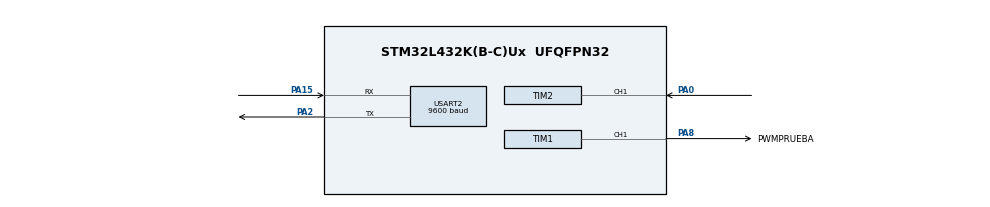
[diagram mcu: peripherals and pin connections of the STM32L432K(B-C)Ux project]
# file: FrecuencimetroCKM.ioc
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Mcu.Family=STM32L4
Mcu.Name=STM32L432K(B-C)Ux
Mcu.Package=UFQFPN32
NVIC.PriorityGroup=NVIC_PRIORITYGROUP_4
PA0.Signal=S_TIM2_CH1
PA15\ (JTDI).Mode=Asynchronous
PA15\ (JTDI).Signal=USART2_RX
PA2.Mode=Asynchronous
PA2.Signal=USART2_TX
PA8.GPIO_Label=PWMPRUEBA
PA8.Signal=S_TIM1_CH1
ProjectManager.HeapSize=0x200
ProjectManager.StackSize=0x400
ProjectManager.TargetToolchain=STM32CubeIDE
RCC.HSE_VALUE=8000000
RCC.HSI48_VALUE=48000000
RCC.HSI_VALUE=16000000
RCC.LSE_VALUE=32768
RCC.MSI_VALUE=4000000
RCC.VCOOutputFreq_Value=32000000
SH.S_TIM1_CH1.0=TIM1_CH1,PWM Generation1 CH1
SH.S_TIM2_CH1.0=TIM2_CH1,Input_Capture1_from_TI1
TIM1.Channel-PWM\ Generation1\ CH1=TIM_CHANNEL_1
TIM2.Channel-Input_Capture1_from_TI1=TIM_CHANNEL_1
USART2.BaudRate=9600
USART2.VirtualMode-Asynchronous=VM_ASYNC
VP_TIM6_VS_ClockSourceINT.Mode=Enable_Timer
board=custom

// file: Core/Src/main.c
/* USER CODE BEGIN Header */
/**
  ******************************************************************************
  * @file           : main.c
  * @brief          : Main program body
  ******************************************************************************
  * @attention
  *
  * Copyright (c) 2025 STMicroelectronics.
  * All rights reserved.
  *
  * This software is licensed under terms that can be found in the LICENSE file
  * in the root directory of this software component.
  * If no LICENSE file comes with this software, it is provided AS-IS.
  *
  ******************************************************************************
  */
/* USER CODE END Header */
#include "main.h"

/* USER CODE BEGIN Includes */
#include <stdio.h>
#include <math.h>
#include <string.h>
/* USER CODE END Includes */

TIM_HandleTypeDef htim1;
TIM_HandleTypeDef htim2;
TIM_HandleTypeDef htim6;

UART_HandleTypeDef huart2;

void SystemClock_Config(void);
static void MX_GPIO_Init(void);
static void MX_TIM2_Init(void);
static void MX_USART2_UART_Init(void);
static void MX_TIM6_Init(void);
static void MX_TIM1_Init(void);

/* USER CODE BEGIN 0 */
volatile uint32_t ultimacaptura = 0;
volatile uint32_t comienzoascendente = 0;
volatile uint32_t periodo = 0;
volatile uint32_t tflancoascendente = 0;
volatile uint8_t  estadocaptura = 0;
volatile uint8_t enviarmsj = 0;
volatile uint32_t frequencia = 0;
volatile uint32_t duty_cycle = 0;
/* USER CODE END 0 */

int main(void)
{

  /* MCU Configuration--------------------------------------------------------*/

  /* Reset of all peripherals, Initializes the Flash interface and the Systick. */
  HAL_Init();

  /* Configure the system clock */
  SystemClock_Config();

  /* Initialize all configured peripherals */
  MX_GPIO_Init();
  MX_TIM2_Init();
  MX_USART2_UART_Init();
  MX_TIM6_Init();
  MX_TIM1_Init();

  /* Infinite loop */
  while (1)
  {

    /* USER CODE BEGIN 3 */
	  if (enviarmsj){
		  enviarmsj=0;
		  char msg[64];
		  		    sprintf(msg, "Freq: %lu Hz  Duty: %lu%%\r\n", frequencia, duty_cycle);
		  		    HAL_UART_Transmit(&huart2, (uint8_t*)msg, strlen(msg), HAL_MAX_DELAY);
	  }
  }
  /* USER CODE END 3 */
}

void SystemClock_Config(void)
{
  RCC_OscInitTypeDef RCC_OscInitStruct = {0};
  RCC_ClkInitTypeDef RCC_ClkInitStruct = {0};

  /** Configure the main internal regulator output voltage
  */
  if (HAL_PWREx_ControlVoltageScaling(PWR_REGULATOR_VOLTAGE_SCALE1) != HAL_OK)
  {
    Error_Handler();
  }

  /** Initializes the RCC Oscillators according to the specified parameters
  * in the RCC_OscInitTypeDef structure.
  */
  RCC_OscInitStruct.OscillatorType = RCC_OSCILLATORTYPE_MSI;
  RCC_OscInitStruct.MSIState = RCC_MSI_ON;
  RCC_OscInitStruct.MSICalibrationValue = 0;
  RCC_OscInitStruct.MSIClockRange = RCC_MSIRANGE_6;
  RCC_OscInitStruct.PLL.PLLState = RCC_PLL_NONE;
  if (HAL_RCC_OscConfig(&RCC_OscInitStruct) != HAL_OK)
  {
    Error_Handler();
  }

  /** Initializes the CPU, AHB and APB buses clocks
  */
  RCC_ClkInitStruct.ClockType = RCC_CLOCKTYPE_HCLK|RCC_CLOCKTYPE_SYSCLK
                              |RCC_CLOCKTYPE_PCLK1|RCC_CLOCKTYPE_PCLK2;
  RCC_ClkInitStruct.SYSCLKSource = RCC_SYSCLKSOURCE_MSI;
  RCC_ClkInitStruct.AHBCLKDivider = RCC_SYSCLK_DIV1;
  RCC_ClkInitStruct.APB1CLKDivider = RCC_HCLK_DIV1;
  RCC_ClkInitStruct.APB2CLKDivider = RCC_HCLK_DIV1;

  if (HAL_RCC_ClockConfig(&RCC_ClkInitStruct, FLASH_LATENCY_0) != HAL_OK)
  {
    Error_Handler();
  }
}

static void MX_TIM1_Init(void)
{

  TIM_MasterConfigTypeDef sMasterConfig = {0};
  TIM_OC_InitTypeDef sConfigOC = {0};
  TIM_BreakDeadTimeConfigTypeDef sBreakDeadTimeConfig = {0};

  htim1.Instance = TIM1;
  htim1.Init.Prescaler = 0;
  htim1.Init.CounterMode = TIM_COUNTERMODE_UP;
  htim1.Init.Period = 65535;
  htim1.Init.ClockDivision = TIM_CLOCKDIVISION_DIV1;
  htim1.Init.RepetitionCounter = 0;
  htim1.Init.AutoReloadPreload = TIM_AUTORELOAD_PRELOAD_DISABLE;
  if (HAL_TIM_PWM_Init(&htim1) != HAL_OK)
  {
    Error_Handler();
  }
  sMasterConfig.MasterOutputTrigger = TIM_TRGO_RESET;
  sMasterConfig.MasterOutputTrigger2 = TIM_TRGO2_RESET;
  sMasterConfig.MasterSlaveMode = TIM_MASTERSLAVEMODE_DISABLE;
  if (HAL_TIMEx_MasterConfigSynchronization(&htim1, &sMasterConfig) != HAL_OK)
  {
    Error_Handler();
  }
  sConfigOC.OCMode = TIM_OCMODE_PWM1;
  sConfigOC.Pulse = 0;
  sConfigOC.OCPolarity = TIM_OCPOLARITY_HIGH;
  sConfigOC.OCNPolarity = TIM_OCNPOLARITY_HIGH;
  sConfigOC.OCFastMode = TIM_OCFAST_DISABLE;
  sConfigOC.OCIdleState = TIM_OCIDLESTATE_RESET;
  sConfigOC.OCNIdleState = TIM_OCNIDLESTATE_RESET;
  if (HAL_TIM_PWM_ConfigChannel(&htim1, &sConfigOC, TIM_CHANNEL_1) != HAL_OK)
  {
    Error_Handler();
  }
  sBreakDeadTimeConfig.OffStateRunMode = TIM_OSSR_DISABLE;
  sBreakDeadTimeConfig.OffStateIDLEMode = TIM_OSSI_DISABLE;
  sBreakDeadTimeConfig.LockLevel = TIM_LOCKLEVEL_OFF;
  sBreakDeadTimeConfig.DeadTime = 0;
  sBreakDeadTimeConfig.BreakState = TIM_BREAK_DISABLE;
  sBreakDeadTimeConfig.BreakPolarity = TIM_BREAKPOLARITY_HIGH;
  sBreakDeadTimeConfig.BreakFilter = 0;
  sBreakDeadTimeConfig.Break2State = TIM_BREAK2_DISABLE;
  sBreakDeadTimeConfig.Break2Polarity = TIM_BREAK2POLARITY_HIGH;
  sBreakDeadTimeConfig.Break2Filter = 0;
  sBreakDeadTimeConfig.AutomaticOutput = TIM_AUTOMATICOUTPUT_DISABLE;
  if (HAL_TIMEx_ConfigBreakDeadTime(&htim1, &sBreakDeadTimeConfig) != HAL_OK)
  {
    Error_Handler();
  }
  HAL_TIM_MspPostInit(&htim1);

}

static void MX_TIM2_Init(void)
{

  TIM_MasterConfigTypeDef sMasterConfig = {0};
  TIM_IC_InitTypeDef sConfigIC = {0};

  htim2.Instance = TIM2;
  htim2.Init.Prescaler = 0;
  htim2.Init.CounterMode = TIM_COUNTERMODE_UP;
  htim2.Init.Period = 4294967295;
  htim2.Init.ClockDivision = TIM_CLOCKDIVISION_DIV1;
  htim2.Init.AutoReloadPreload = TIM_AUTORELOAD_PRELOAD_DISABLE;
  if (HAL_TIM_IC_Init(&htim2) != HAL_OK)
  {
    Error_Handler();
  }
  sMasterConfig.MasterOutputTrigger = TIM_TRGO_RESET;
  sMasterConfig.MasterSlaveMode = TIM_MASTERSLAVEMODE_DISABLE;
  if (HAL_TIMEx_MasterConfigSynchronization(&htim2, &sMasterConfig) != HAL_OK)
  {
    Error_Handler();
  }
  sConfigIC.ICPolarity = TIM_INPUTCHANNELPOLARITY_RISING;
  sConfigIC.ICSelection = TIM_ICSELECTION_DIRECTTI;
  sConfigIC.ICPrescaler = TIM_ICPSC_DIV1;
  sConfigIC.ICFilter = 0;
  if (HAL_TIM_IC_ConfigChannel(&htim2, &sConfigIC, TIM_CHANNEL_1) != HAL_OK)
  {
    Error_Handler();
  }

}

static void MX_TIM6_Init(void)
{

  TIM_MasterConfigTypeDef sMasterConfig = {0};

  htim6.Instance = TIM6;
  htim6.Init.Prescaler = 0;
  htim6.Init.CounterMode = TIM_COUNTERMODE_UP;
  htim6.Init.Period = 65535;
  htim6.Init.AutoReloadPreload = TIM_AUTORELOAD_PRELOAD_DISABLE;
  if (HAL_TIM_Base_Init(&htim6) != HAL_OK)
  {
    Error_Handler();
  }
  sMasterConfig.MasterOutputTrigger = TIM_TRGO_RESET;
  sMasterConfig.MasterSlaveMode = TIM_MASTERSLAVEMODE_DISABLE;
  if (HAL_TIMEx_MasterConfigSynchronization(&htim6, &sMasterConfig) != HAL_OK)
  {
    Error_Handler();
  }

}

static void MX_USART2_UART_Init(void)
{

  huart2.Instance = USART2;
  huart2.Init.BaudRate = 9600;
  huart2.Init.WordLength = UART_WORDLENGTH_8B;
  huart2.Init.StopBits = UART_STOPBITS_1;
  huart2.Init.Parity = UART_PARITY_NONE;
  huart2.Init.Mode = UART_MODE_TX_RX;
  huart2.Init.HwFlowCtl = UART_HWCONTROL_NONE;
  huart2.Init.OverSampling = UART_OVERSAMPLING_16;
  huart2.Init.OneBitSampling = UART_ONE_BIT_SAMPLE_DISABLE;
  huart2.AdvancedInit.AdvFeatureInit = UART_ADVFEATURE_NO_INIT;
  if (HAL_UART_Init(&huart2) != HAL_OK)
  {
    Error_Handler();
  }

}

static void MX_GPIO_Init(void)
{

  /* GPIO Ports Clock Enable */
  __HAL_RCC_GPIOA_CLK_ENABLE();

}

/* USER CODE BEGIN 4 */
void ConfiguracionPwm(void){
	// Habilitar reloj para GPIOA y TIM2

	RCC->AHB2ENR |= RCC_AHB2ENR_GPIOAEN;
	RCC->APB1ENR1 |= RCC_APB1ENR1_TIM2EN;

	// Configurar PA0 como alternate function (AF1 para TIM2_CH1)
	GPIOA->MODER &= ~GPIO_MODER_MODE0;
	GPIOA->MODER |= GPIO_MODER_MODE0_1; // Alternate Function
	GPIOA->AFR[0] &= ~GPIO_AFRL_AFSEL0;
	GPIOA->AFR[0] |= (1 << GPIO_AFRL_AFSEL0_Pos); // AF1 = TIM2
	TIM2->PSC = 4 - 1;  // 84 MHz / 84 = 1 MHz → resolución de 1 µs
	TIM2->ARR = 0xFFFFFFFF;  // Máximo valor (contador de 32 bits)

	// Configurar canal 1 como Input Capture en flanco ascendente
	TIM2->CCMR1 &= ~TIM_CCMR1_CC1S;
	TIM2->CCMR1 |= TIM_CCMR1_CC1S_0;  // CC1 como entrada, mapeada a TI1

	TIM2->CCER &= ~TIM_CCER_CC1P;  // Captura en flanco ascendente inicialmente
	TIM2->CCER |= TIM_CCER_CC1E;   // Habilitar captura en CH1

	TIM2->DIER |= TIM_DIER_CC1IE;  // Habilitar interrupción de captura
	NVIC_EnableIRQ(TIM2_IRQn);     // Habilitar IRQ del TIM2

	TIM2->CR1 |= TIM_CR1_CEN;      // Habilitar contador
}
void PWMprueba(void){
	 RCC->AHB2ENR |= RCC_AHB2ENR_GPIOAEN;
	    RCC->APB2ENR |= RCC_APB2ENR_TIM1EN;

	    // 2. Configurar PA8 como Alternate Function (AF1 = TIM1_CH1)
	    GPIOA->MODER &= ~GPIO_MODER_MODE8;
	    GPIOA->MODER |= GPIO_MODER_MODE8_1;  // AF
	    GPIOA->AFR[1] &= ~GPIO_AFRH_AFSEL8;
	    GPIOA->AFR[1] |= (1 << GPIO_AFRH_AFSEL8_Pos);  // AF1

	    // 3. Configurar TIM1
	    TIM1->PSC = 39;     // 4 MHz / (39+1) = 100 kHz timer clock
	    TIM1->ARR = 99;     // 100 kHz / 100 = 1 kHz PWM
	    TIM1->CCR1 = 50;    // 50% de duty cycle

	    // 4. Configurar canal 1 como PWM modo 1 (salida activa mientras CNT < CCR1)
	    TIM1->CCMR1 &= ~TIM_CCMR1_OC1M;
	    TIM1->CCMR1 |= (6 << TIM_CCMR1_OC1M_Pos); // PWM mode 1
	    TIM1->CCMR1 |= TIM_CCMR1_OC1PE;           // Preload enable

	    TIM1->CCER |= TIM_CCER_CC1E;              // Habilitar salida CH1

	    TIM1->BDTR |= TIM_BDTR_MOE;               // Main output enable (TIM1 es avanzado)
	    TIM1->CR1 |= TIM_CR1_ARPE;                // Auto-reload preload
	    TIM1->EGR |= TIM_EGR_UG;                  // Generate update event
	    TIM1->CR1 |= TIM_CR1_CEN;                 // Habilitar contador
}

void Configuraciontim6(void){
	 RCC-> APB1ENR1 |= RCC_APB1ENR1_TIM6EN;
	 NVIC-> ISER [1] |= (1 << 22) ;
	 TIM6-> CR1 |= TIM_CR1_ARPE ;
	 TIM6-> CR1 |= TIM_CR1_CEN ;
	 TIM6-> ARR = 99;
	 TIM6-> PSC = 39999;
	 TIM6-> EGR = TIM_EGR_UG ;
	 TIM6-> DIER = TIM_DIER_UIE ;
}
void TIM6_DAC_IRQHandler(void){
	if ( TIM6-> SR & TIM_SR_UIF ) {
		TIM6->SR &= ~TIM_SR_UIF;
		enviarmsj=1;

	}
}
void TIM2_IRQHandler(void){
	if (TIM2->SR & TIM_SR_CC1IF) {
	   uint32_t captura = TIM2->CCR1;
	   if(estadocaptura==0){
		   periodo = captura - ultimacaptura;
		   comienzoascendente= captura;
		   TIM2->CCER |= TIM_CCER_CC1P;
		   estadocaptura = 1;
	   }
		   else {
			  tflancoascendente = captura - comienzoascendente;
			  TIM2->CCER &= ~TIM_CCER_CC1P;
			  ultimacaptura= captura;
			  estadocaptura= 0;
		   }
	   frequencia =  round (1000000 / periodo) ;
	   duty_cycle = round ((tflancoascendente * 100) / periodo);
	   TIM2->SR &= ~TIM_SR_CC1IF; // Limpiar flag

	   }
}

/* USER CODE END 4 */

void Error_Handler(void)
{
  __disable_irq();
  while (1)
  {
  }
}
